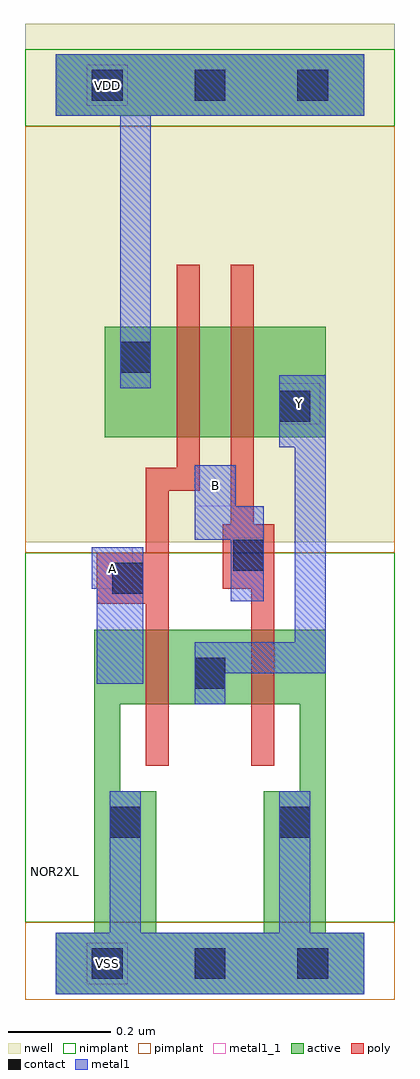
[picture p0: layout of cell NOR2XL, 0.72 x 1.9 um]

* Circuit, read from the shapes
.subckt NOR2XL A B VDD VSS Y
M1 Y A VSS VSS nfet w=0.145u l=0.045u
M2 VSS B Y VSS nfet w=0.145u l=0.045u
M3 n1 A VDD VDD pfet w=0.215u l=0.045u
M4 Y B n1 VDD pfet w=0.215u l=0.045u
.ends

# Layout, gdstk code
import gdstk
lib = gdstk.Library(unit=1e-6, precision=5e-10)
def R(c, l, rs):  # rectangles x0, y0, x1, y1
    for r in rs: c.add(gdstk.rectangle(r[:2], r[2:], *l))
def A(c, l, x, y, w, h, nx, ny, dx, dy):  # array of equal rectangles
    R(c, l, [(x+i*dx, y+j*dy, x+i*dx+w, y+j*dy+h) for i in range(nx) for j in range(ny)])
def P(c, l, *ps):  # polygons
    for p in ps: c.add(gdstk.Polygon(p, *l))
active = (1, 0)
nwell = (2, 0)
poly = (3, 0)
nimplant = (4, 0)
pimplant = (5, 0)
contact = (6, 0)
metal1 = (7, 0)
metal1_1 = (7, 1)

nor2xl = lib.new_cell('NOR2XL')
R(nor2xl, active, [(0.095,1.025,0.525,1.24), (0,1.65,0.6,1.77)])
P(nor2xl, active, [(0.075,0.65),(0.525,0.65),(0.525,0.06),(0.6,0.06),(0.6,-0.06),(0,-0.06),(0,0.06),(0.075,0.06),(0.075,0.505),(0.125,0.505),(0.125,0.335),(0.195,0.335),(0.195,0.06),(0.405,0.06),(0.405,0.335),(0.475,0.335),(0.475,0.505),(0.075,0.505)])
R(nor2xl, nwell, [(-0.06,0.82,0.66,1.83)])
P(nor2xl, poly, [(0.235,1.36),(0.28,1.36),(0.28,0.92),(0.22,0.92),(0.22,0.385),(0.175,0.385),(0.175,0.7),(0.08,0.7),(0.08,0.8),(0.175,0.8),(0.175,0.965),(0.235,0.965)],
  [(0.34,1.36),(0.385,1.36),(0.385,0.855),(0.425,0.855),(0.425,0.385),(0.38,0.385),(0.38,0.73),(0.325,0.73),(0.325,0.855),(0.34,0.855)])
R(nor2xl, nimplant, [(-0.06,0.08,0.66,0.8), (-0.06,1.63,0.66,1.78)])
R(nor2xl, pimplant, [(-0.06,-0.07,0.66,0.08), (-0.06,0.8,0.66,1.63)])
A(nor2xl, contact, 0.07, -0.03, 0.06, 0.06, 3, 2, 0.2, 1.71)
R(nor2xl, contact, [(0.105,0.245,0.165,0.305), (0.435,0.245,0.495,0.305), (0.27,0.535,0.33,0.595), (0.11,0.72,0.17,0.78), (0.345,0.765,0.405,0.825), (0.435,1.055,0.495,1.115), (0.125,1.15,0.185,1.21)])
P(nor2xl, metal1, [(0.105,0.335),(0.165,0.335),(0.165,0.06),(0.435,0.06),(0.435,0.335),(0.495,0.335),(0.495,0.06),(0.6,0.06),(0.6,-0.06),(0,-0.06),(0,0.06),(0.105,0.06)],
  [(0,1.77),(0.6,1.77),(0.6,1.65),(0.185,1.65),(0.185,1.12),(0.125,1.12),(0.125,1.65),(0,1.65)],
  [(0.435,1.145),(0.525,1.145),(0.525,0.565),(0.33,0.565),(0.33,0.505),(0.27,0.505),(0.27,0.625),(0.465,0.625),(0.465,1.005),(0.435,1.005)],
  [(0.405,0.89),(0.35,0.89),(0.35,0.97),(0.27,0.97),(0.27,0.825),(0.34,0.825),(0.34,0.705),(0.405,0.705)],
  [(0.17,0.81),(0.07,0.81),(0.07,0.73),(0.08,0.73),(0.08,0.545),(0.17,0.545)])
R(nor2xl, metal1_1, [(0.06,-0.04,0.14,0.04), (0.07,0.73,0.15,0.81), (0.27,0.89,0.35,0.97), (0.435,1.05,0.515,1.13), (0.06,1.67,0.14,1.75)])
nor2xl.add(gdstk.Label('VSS', (0.1,0), layer=7, texttype=1))
nor2xl.add(gdstk.Label('A', (0.11,0.77), layer=7, texttype=1))
nor2xl.add(gdstk.Label('Y', (0.475,1.09), layer=7, texttype=1))
nor2xl.add(gdstk.Label('B', (0.31,0.93), layer=7, texttype=1))
nor2xl.add(gdstk.Label('VDD', (0.1,1.71), layer=7, texttype=1))
nor2xl.add(gdstk.Label('NOR2XL', (0,0.18), layer=63, texttype=0))

lib.write_gds('NOR2XL.gds')
